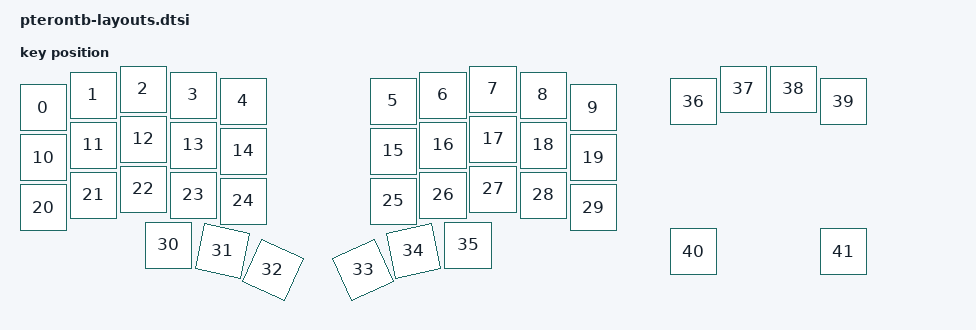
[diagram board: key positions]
#include <physical_layouts.dtsi>

/ {
    physical_layout_pterontb: physical_layout_pterontb {
        compatible = "zmk,physical-layout";
        display-name = "pteronTB";
        keys  //                     w   h    x    y     rot    rx    ry
            = <&key_physical_attrs 100 100    0   37       0     0    37>
            , <&key_physical_attrs 100 100  100   12       0   100    12>
            , <&key_physical_attrs 100 100  200    0       0   200     0>
            , <&key_physical_attrs 100 100  300   12       0   300    12>
            , <&key_physical_attrs 100 100  400   24       0   400    24>
            , <&key_physical_attrs 100 100  700   24       0   700    24>
            , <&key_physical_attrs 100 100  800   12       0   800    12>
            , <&key_physical_attrs 100 100  900    0       0   900     0>
            , <&key_physical_attrs 100 100 1000   12       0  1000    12>
            , <&key_physical_attrs 100 100 1100   37       0  1100    37>
            , <&key_physical_attrs 100 100    0  137       0     0   137>
            , <&key_physical_attrs 100 100  100  112       0   100   112>
            , <&key_physical_attrs 100 100  200  100       0   200   100>
            , <&key_physical_attrs 100 100  300  112       0   300   112>
            , <&key_physical_attrs 100 100  400  124       0   400   124>
            , <&key_physical_attrs 100 100  700  124       0   700   124>
            , <&key_physical_attrs 100 100  800  112       0   800   112>
            , <&key_physical_attrs 100 100  900  100       0   900   100>
            , <&key_physical_attrs 100 100 1000  112       0  1000   112>
            , <&key_physical_attrs 100 100 1100  137       0  1100   137>
            , <&key_physical_attrs 100 100    0  237       0     0   237>
            , <&key_physical_attrs 100 100  100  212       0   100   212>
            , <&key_physical_attrs 100 100  200  200       0   200   200>
            , <&key_physical_attrs 100 100  300  212       0   300   212>
            , <&key_physical_attrs 100 100  400  224       0   400   224>
            , <&key_physical_attrs 100 100  700  224       0   700   224>
            , <&key_physical_attrs 100 100  800  212       0   800   212>
            , <&key_physical_attrs 100 100  900  200       0   900   200>
            , <&key_physical_attrs 100 100 1000  212       0  1000   212>
            , <&key_physical_attrs 100 100 1100  237       0  1100   237>
            , <&key_physical_attrs 100 100  250  312       0   250   312>
            , <&key_physical_attrs 100 100  350  312    1200   350   412>
            , <&key_physical_attrs 100 100  423  333    2400   423   483>
            , <&key_physical_attrs 100 100  677  333 (-2400)   777   483>
            , <&key_physical_attrs 100 100  750  312 (-1200)   850   412>
            , <&key_physical_attrs 100 100  850  312       0   850   312>
            , <&key_physical_attrs 100 100 1300   25       0  1300    25>
            , <&key_physical_attrs 100 100 1400    0       0  1400     0>
            , <&key_physical_attrs 100 100 1500    0       0  1500     0>
            , <&key_physical_attrs 100 100 1600   25       0  1600    25>
            , <&key_physical_attrs 100 100 1300  325       0  1300   325>
            , <&key_physical_attrs 100 100 1600  325       0  1600   325>
            ;
    };
};
